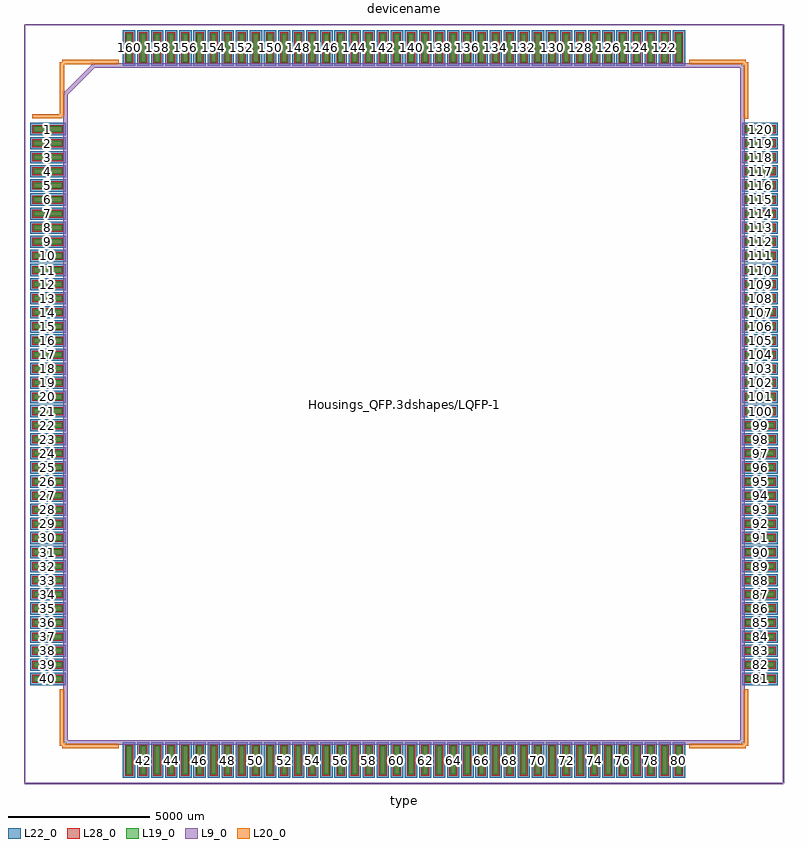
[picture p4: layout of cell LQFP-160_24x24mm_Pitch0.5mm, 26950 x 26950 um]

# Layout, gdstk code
import gdstk
lib = gdstk.Library(unit=1e-6, precision=1e-09)
def R(c, l, rs):  # rectangles x0, y0, x1, y1
    for r in rs: c.add(gdstk.rectangle(r[:2], r[2:], *l))
def A(c, l, x, y, w, h, nx, ny, dx, dy):  # array of equal rectangles
    R(c, l, [(x+i*dx, y+j*dy, x+i*dx+w, y+j*dy+h) for i in range(nx) for j in range(ny)])
L9_0 = (9, 0)
L19_0 = (19, 0)
L20_0 = (20, 0)
L22_0 = (22, 0)
L28_0 = (28, 0)

lqfp_160_24x24mm_pitch0_ = lib.new_cell('LQFP-160_24x24mm_Pitch0.5mm')
A(lqfp_160_24x24mm_pitch0_, L19_0, -9842.5, -13125, 185, 1000, 40, 2, 500, 25250)
A(lqfp_160_24x24mm_pitch0_, L19_0, -13125, -9842.5, 1000, 185, 1, 40, 0, 500)
A(lqfp_160_24x24mm_pitch0_, L19_0, 12125, -9842.5, 1000, 185, 1, 40, 0, 500)
A(lqfp_160_24x24mm_pitch0_, L22_0, -9967.5, -13250, 435, 1250, 40, 2, 500, 25250)
A(lqfp_160_24x24mm_pitch0_, L22_0, -13250, -9967.5, 1250, 435, 1, 40, 0, 500)
A(lqfp_160_24x24mm_pitch0_, L22_0, 12000, -9967.5, 1250, 435, 1, 40, 0, 500)
A(lqfp_160_24x24mm_pitch0_, L28_0, -9892.5, -13175, 285, 1100, 40, 2, 500, 25250)
A(lqfp_160_24x24mm_pitch0_, L28_0, -13175, -9892.5, 1100, 285, 1, 40, 0, 500)
A(lqfp_160_24x24mm_pitch0_, L28_0, 12075, -9892.5, 1100, 285, 1, 40, 0, 500)
lqfp_160_24x24mm_pitch0_.add(gdstk.FlexPath([(-12125,10200),(-13175,10200)], 149.998, ends="flush", simple_path=True, layer=20, datatype=0))  # L20_0
lqfp_160_24x24mm_pitch0_.add(gdstk.FlexPath([(12125,12125),(10117.5,12125)], 149.998, ends="flush", simple_path=True, layer=20, datatype=0))  # L20_0
lqfp_160_24x24mm_pitch0_.add(gdstk.FlexPath([(12125,-12125),(10117.5,-12125)], 149.998, ends="flush", simple_path=True, layer=20, datatype=0))  # L20_0
lqfp_160_24x24mm_pitch0_.add(gdstk.FlexPath([(-12125,-12125),(-10117.5,-12125)], 149.998, ends="flush", simple_path=True, layer=20, datatype=0))  # L20_0
lqfp_160_24x24mm_pitch0_.add(gdstk.FlexPath([(-12125,12125),(-10117.5,12125)], 149.998, ends="flush", simple_path=True, layer=20, datatype=0))  # L20_0
lqfp_160_24x24mm_pitch0_.add(gdstk.FlexPath([(-12125,-12125),(-12125,-10117.5)], 149.998, ends="flush", simple_path=True, layer=20, datatype=0))  # L20_0
lqfp_160_24x24mm_pitch0_.add(gdstk.FlexPath([(12125,-12125),(12125,-10117.5)], 149.998, ends="flush", simple_path=True, layer=20, datatype=0))  # L20_0
lqfp_160_24x24mm_pitch0_.add(gdstk.FlexPath([(12125,12125),(12125,10117.5)], 149.998, ends="flush", simple_path=True, layer=20, datatype=0))  # L20_0
lqfp_160_24x24mm_pitch0_.add(gdstk.FlexPath([(-12125,12125),(-12125,10200)], 149.998, ends="flush", simple_path=True, layer=20, datatype=0))  # L20_0
lqfp_160_24x24mm_pitch0_.add(gdstk.FlexPath([(-13450,-13450),(13450,-13450)], 50, ends="flush", simple_path=True, layer=9, datatype=0))  # L9_0
lqfp_160_24x24mm_pitch0_.add(gdstk.FlexPath([(-13450,13450),(13450,13450)], 50, ends="flush", simple_path=True, layer=9, datatype=0))  # L9_0
lqfp_160_24x24mm_pitch0_.add(gdstk.FlexPath([(13450,13450),(13450,-13450)], 50, ends="flush", simple_path=True, layer=9, datatype=0))  # L9_0
lqfp_160_24x24mm_pitch0_.add(gdstk.FlexPath([(-13450,13450),(-13450,-13450)], 50, ends="flush", simple_path=True, layer=9, datatype=0))  # L9_0
lqfp_160_24x24mm_pitch0_.add(gdstk.FlexPath([(-12000,11000),(-11000,12000)], 149.998, ends="flush", simple_path=True, layer=9, datatype=0))  # L9_0
lqfp_160_24x24mm_pitch0_.add(gdstk.FlexPath([(-12000,-12000),(-12000,11000)], 149.998, ends="flush", simple_path=True, layer=9, datatype=0))  # L9_0
lqfp_160_24x24mm_pitch0_.add(gdstk.FlexPath([(12000,-12000),(-12000,-12000)], 149.998, ends="flush", simple_path=True, layer=9, datatype=0))  # L9_0
lqfp_160_24x24mm_pitch0_.add(gdstk.FlexPath([(12000,12000),(12000,-12000)], 149.998, ends="flush", simple_path=True, layer=9, datatype=0))  # L9_0
lqfp_160_24x24mm_pitch0_.add(gdstk.FlexPath([(-11000,12000),(12000,12000)], 149.998, ends="flush", simple_path=True, layer=9, datatype=0))  # L9_0
lqfp_160_24x24mm_pitch0_.add(gdstk.Label('Housings_QFP.3dshapes/LQFP-160_24x24mm_Pitch0.5mm.wrl', (0,0), layer=12, texttype=0))
lqfp_160_24x24mm_pitch0_.add(gdstk.Label('160', (-9750,12625), layer=28, texttype=0))
lqfp_160_24x24mm_pitch0_.add(gdstk.Label('159', (-9250,12625), layer=28, texttype=0))
lqfp_160_24x24mm_pitch0_.add(gdstk.Label('158', (-8750,12625), layer=28, texttype=0))
lqfp_160_24x24mm_pitch0_.add(gdstk.Label('157', (-8250,12625), layer=28, texttype=0))
lqfp_160_24x24mm_pitch0_.add(gdstk.Label('156', (-7750,12625), layer=28, texttype=0))
lqfp_160_24x24mm_pitch0_.add(gdstk.Label('155', (-7250,12625), layer=28, texttype=0))
lqfp_160_24x24mm_pitch0_.add(gdstk.Label('154', (-6750,12625), layer=28, texttype=0))
lqfp_160_24x24mm_pitch0_.add(gdstk.Label('153', (-6250,12625), layer=28, texttype=0))
lqfp_160_24x24mm_pitch0_.add(gdstk.Label('152', (-5750,12625), layer=28, texttype=0))
lqfp_160_24x24mm_pitch0_.add(gdstk.Label('151', (-5250,12625), layer=28, texttype=0))
lqfp_160_24x24mm_pitch0_.add(gdstk.Label('150', (-4750,12625), layer=28, texttype=0))
lqfp_160_24x24mm_pitch0_.add(gdstk.Label('149', (-4250,12625), layer=28, texttype=0))
lqfp_160_24x24mm_pitch0_.add(gdstk.Label('148', (-3750,12625), layer=28, texttype=0))
lqfp_160_24x24mm_pitch0_.add(gdstk.Label('147', (-3250,12625), layer=28, texttype=0))
lqfp_160_24x24mm_pitch0_.add(gdstk.Label('146', (-2750,12625), layer=28, texttype=0))
lqfp_160_24x24mm_pitch0_.add(gdstk.Label('145', (-2250,12625), layer=28, texttype=0))
lqfp_160_24x24mm_pitch0_.add(gdstk.Label('144', (-1750,12625), layer=28, texttype=0))
lqfp_160_24x24mm_pitch0_.add(gdstk.Label('143', (-1250,12625), layer=28, texttype=0))
lqfp_160_24x24mm_pitch0_.add(gdstk.Label('142', (-750,12625), layer=28, texttype=0))
lqfp_160_24x24mm_pitch0_.add(gdstk.Label('141', (-250,12625), layer=28, texttype=0))
lqfp_160_24x24mm_pitch0_.add(gdstk.Label('140', (250,12625), layer=28, texttype=0))
lqfp_160_24x24mm_pitch0_.add(gdstk.Label('139', (750,12625), layer=28, texttype=0))
lqfp_160_24x24mm_pitch0_.add(gdstk.Label('138', (1250,12625), layer=28, texttype=0))
lqfp_160_24x24mm_pitch0_.add(gdstk.Label('137', (1750,12625), layer=28, texttype=0))
lqfp_160_24x24mm_pitch0_.add(gdstk.Label('136', (2250,12625), layer=28, texttype=0))
lqfp_160_24x24mm_pitch0_.add(gdstk.Label('135', (2750,12625), layer=28, texttype=0))
lqfp_160_24x24mm_pitch0_.add(gdstk.Label('134', (3250,12625), layer=28, texttype=0))
lqfp_160_24x24mm_pitch0_.add(gdstk.Label('133', (3750,12625), layer=28, texttype=0))
lqfp_160_24x24mm_pitch0_.add(gdstk.Label('132', (4250,12625), layer=28, texttype=0))
lqfp_160_24x24mm_pitch0_.add(gdstk.Label('131', (4750,12625), layer=28, texttype=0))
lqfp_160_24x24mm_pitch0_.add(gdstk.Label('130', (5250,12625), layer=28, texttype=0))
lqfp_160_24x24mm_pitch0_.add(gdstk.Label('129', (5750,12625), layer=28, texttype=0))
lqfp_160_24x24mm_pitch0_.add(gdstk.Label('128', (6250,12625), layer=28, texttype=0))
lqfp_160_24x24mm_pitch0_.add(gdstk.Label('127', (6750,12625), layer=28, texttype=0))
lqfp_160_24x24mm_pitch0_.add(gdstk.Label('126', (7250,12625), layer=28, texttype=0))
lqfp_160_24x24mm_pitch0_.add(gdstk.Label('125', (7750,12625), layer=28, texttype=0))
lqfp_160_24x24mm_pitch0_.add(gdstk.Label('124', (8250,12625), layer=28, texttype=0))
lqfp_160_24x24mm_pitch0_.add(gdstk.Label('123', (8750,12625), layer=28, texttype=0))
lqfp_160_24x24mm_pitch0_.add(gdstk.Label('122', (9250,12625), layer=28, texttype=0))
lqfp_160_24x24mm_pitch0_.add(gdstk.Label('121', (9750,12625), layer=28, texttype=0))
lqfp_160_24x24mm_pitch0_.add(gdstk.Label('120', (12625,9750), layer=28, texttype=0))
lqfp_160_24x24mm_pitch0_.add(gdstk.Label('119', (12625,9250), layer=28, texttype=0))
lqfp_160_24x24mm_pitch0_.add(gdstk.Label('118', (12625,8750), layer=28, texttype=0))
lqfp_160_24x24mm_pitch0_.add(gdstk.Label('117', (12625,8250), layer=28, texttype=0))
lqfp_160_24x24mm_pitch0_.add(gdstk.Label('116', (12625,7750), layer=28, texttype=0))
lqfp_160_24x24mm_pitch0_.add(gdstk.Label('115', (12625,7250), layer=28, texttype=0))
lqfp_160_24x24mm_pitch0_.add(gdstk.Label('114', (12625,6750), layer=28, texttype=0))
lqfp_160_24x24mm_pitch0_.add(gdstk.Label('113', (12625,6250), layer=28, texttype=0))
lqfp_160_24x24mm_pitch0_.add(gdstk.Label('112', (12625,5750), layer=28, texttype=0))
lqfp_160_24x24mm_pitch0_.add(gdstk.Label('111', (12625,5250), layer=28, texttype=0))
lqfp_160_24x24mm_pitch0_.add(gdstk.Label('110', (12625,4750), layer=28, texttype=0))
lqfp_160_24x24mm_pitch0_.add(gdstk.Label('109', (12625,4250), layer=28, texttype=0))
lqfp_160_24x24mm_pitch0_.add(gdstk.Label('108', (12625,3750), layer=28, texttype=0))
lqfp_160_24x24mm_pitch0_.add(gdstk.Label('107', (12625,3250), layer=28, texttype=0))
lqfp_160_24x24mm_pitch0_.add(gdstk.Label('106', (12625,2750), layer=28, texttype=0))
lqfp_160_24x24mm_pitch0_.add(gdstk.Label('105', (12625,2250), layer=28, texttype=0))
lqfp_160_24x24mm_pitch0_.add(gdstk.Label('104', (12625,1750), layer=28, texttype=0))
lqfp_160_24x24mm_pitch0_.add(gdstk.Label('103', (12625,1250), layer=28, texttype=0))
lqfp_160_24x24mm_pitch0_.add(gdstk.Label('102', (12625,750), layer=28, texttype=0))
lqfp_160_24x24mm_pitch0_.add(gdstk.Label('101', (12625,250), layer=28, texttype=0))
lqfp_160_24x24mm_pitch0_.add(gdstk.Label('100', (12625,-250), layer=28, texttype=0))
lqfp_160_24x24mm_pitch0_.add(gdstk.Label('99', (12625,-750), layer=28, texttype=0))
lqfp_160_24x24mm_pitch0_.add(gdstk.Label('98', (12625,-1250), layer=28, texttype=0))
lqfp_160_24x24mm_pitch0_.add(gdstk.Label('97', (12625,-1750), layer=28, texttype=0))
lqfp_160_24x24mm_pitch0_.add(gdstk.Label('96', (12625,-2250), layer=28, texttype=0))
lqfp_160_24x24mm_pitch0_.add(gdstk.Label('95', (12625,-2750), layer=28, texttype=0))
lqfp_160_24x24mm_pitch0_.add(gdstk.Label('94', (12625,-3250), layer=28, texttype=0))
lqfp_160_24x24mm_pitch0_.add(gdstk.Label('93', (12625,-3750), layer=28, texttype=0))
lqfp_160_24x24mm_pitch0_.add(gdstk.Label('92', (12625,-4250), layer=28, texttype=0))
lqfp_160_24x24mm_pitch0_.add(gdstk.Label('91', (12625,-4750), layer=28, texttype=0))
lqfp_160_24x24mm_pitch0_.add(gdstk.Label('90', (12625,-5250), layer=28, texttype=0))
lqfp_160_24x24mm_pitch0_.add(gdstk.Label('89', (12625,-5750), layer=28, texttype=0))
lqfp_160_24x24mm_pitch0_.add(gdstk.Label('88', (12625,-6250), layer=28, texttype=0))
lqfp_160_24x24mm_pitch0_.add(gdstk.Label('87', (12625,-6750), layer=28, texttype=0))
lqfp_160_24x24mm_pitch0_.add(gdstk.Label('86', (12625,-7250), layer=28, texttype=0))
lqfp_160_24x24mm_pitch0_.add(gdstk.Label('85', (12625,-7750), layer=28, texttype=0))
lqfp_160_24x24mm_pitch0_.add(gdstk.Label('84', (12625,-8250), layer=28, texttype=0))
lqfp_160_24x24mm_pitch0_.add(gdstk.Label('83', (12625,-8750), layer=28, texttype=0))
lqfp_160_24x24mm_pitch0_.add(gdstk.Label('82', (12625,-9250), layer=28, texttype=0))
lqfp_160_24x24mm_pitch0_.add(gdstk.Label('81', (12625,-9750), layer=28, texttype=0))
lqfp_160_24x24mm_pitch0_.add(gdstk.Label('80', (9750,-12625), layer=28, texttype=0))
lqfp_160_24x24mm_pitch0_.add(gdstk.Label('79', (9250,-12625), layer=28, texttype=0))
lqfp_160_24x24mm_pitch0_.add(gdstk.Label('78', (8750,-12625), layer=28, texttype=0))
lqfp_160_24x24mm_pitch0_.add(gdstk.Label('77', (8250,-12625), layer=28, texttype=0))
lqfp_160_24x24mm_pitch0_.add(gdstk.Label('76', (7750,-12625), layer=28, texttype=0))
lqfp_160_24x24mm_pitch0_.add(gdstk.Label('75', (7250,-12625), layer=28, texttype=0))
lqfp_160_24x24mm_pitch0_.add(gdstk.Label('74', (6750,-12625), layer=28, texttype=0))
lqfp_160_24x24mm_pitch0_.add(gdstk.Label('73', (6250,-12625), layer=28, texttype=0))
lqfp_160_24x24mm_pitch0_.add(gdstk.Label('72', (5750,-12625), layer=28, texttype=0))
lqfp_160_24x24mm_pitch0_.add(gdstk.Label('71', (5250,-12625), layer=28, texttype=0))
lqfp_160_24x24mm_pitch0_.add(gdstk.Label('70', (4750,-12625), layer=28, texttype=0))
lqfp_160_24x24mm_pitch0_.add(gdstk.Label('69', (4250,-12625), layer=28, texttype=0))
lqfp_160_24x24mm_pitch0_.add(gdstk.Label('68', (3750,-12625), layer=28, texttype=0))
lqfp_160_24x24mm_pitch0_.add(gdstk.Label('67', (3250,-12625), layer=28, texttype=0))
lqfp_160_24x24mm_pitch0_.add(gdstk.Label('66', (2750,-12625), layer=28, texttype=0))
lqfp_160_24x24mm_pitch0_.add(gdstk.Label('65', (2250,-12625), layer=28, texttype=0))
lqfp_160_24x24mm_pitch0_.add(gdstk.Label('64', (1750,-12625), layer=28, texttype=0))
lqfp_160_24x24mm_pitch0_.add(gdstk.Label('63', (1250,-12625), layer=28, texttype=0))
lqfp_160_24x24mm_pitch0_.add(gdstk.Label('62', (750,-12625), layer=28, texttype=0))
lqfp_160_24x24mm_pitch0_.add(gdstk.Label('61', (250,-12625), layer=28, texttype=0))
lqfp_160_24x24mm_pitch0_.add(gdstk.Label('60', (-250,-12625), layer=28, texttype=0))
lqfp_160_24x24mm_pitch0_.add(gdstk.Label('59', (-750,-12625), layer=28, texttype=0))
lqfp_160_24x24mm_pitch0_.add(gdstk.Label('58', (-1250,-12625), layer=28, texttype=0))
lqfp_160_24x24mm_pitch0_.add(gdstk.Label('57', (-1750,-12625), layer=28, texttype=0))
lqfp_160_24x24mm_pitch0_.add(gdstk.Label('56', (-2250,-12625), layer=28, texttype=0))
lqfp_160_24x24mm_pitch0_.add(gdstk.Label('55', (-2750,-12625), layer=28, texttype=0))
lqfp_160_24x24mm_pitch0_.add(gdstk.Label('54', (-3250,-12625), layer=28, texttype=0))
lqfp_160_24x24mm_pitch0_.add(gdstk.Label('53', (-3750,-12625), layer=28, texttype=0))
lqfp_160_24x24mm_pitch0_.add(gdstk.Label('52', (-4250,-12625), layer=28, texttype=0))
lqfp_160_24x24mm_pitch0_.add(gdstk.Label('51', (-4750,-12625), layer=28, texttype=0))
lqfp_160_24x24mm_pitch0_.add(gdstk.Label('50', (-5250,-12625), layer=28, texttype=0))
lqfp_160_24x24mm_pitch0_.add(gdstk.Label('49', (-5750,-12625), layer=28, texttype=0))
lqfp_160_24x24mm_pitch0_.add(gdstk.Label('48', (-6250,-12625), layer=28, texttype=0))
lqfp_160_24x24mm_pitch0_.add(gdstk.Label('47', (-6750,-12625), layer=28, texttype=0))
lqfp_160_24x24mm_pitch0_.add(gdstk.Label('46', (-7250,-12625), layer=28, texttype=0))
lqfp_160_24x24mm_pitch0_.add(gdstk.Label('45', (-7750,-12625), layer=28, texttype=0))
lqfp_160_24x24mm_pitch0_.add(gdstk.Label('44', (-8250,-12625), layer=28, texttype=0))
lqfp_160_24x24mm_pitch0_.add(gdstk.Label('43', (-8750,-12625), layer=28, texttype=0))
lqfp_160_24x24mm_pitch0_.add(gdstk.Label('42', (-9250,-12625), layer=28, texttype=0))
lqfp_160_24x24mm_pitch0_.add(gdstk.Label('41', (-9750,-12625), layer=28, texttype=0))
lqfp_160_24x24mm_pitch0_.add(gdstk.Label('40', (-12625,-9750), layer=28, texttype=0))
lqfp_160_24x24mm_pitch0_.add(gdstk.Label('39', (-12625,-9250), layer=28, texttype=0))
lqfp_160_24x24mm_pitch0_.add(gdstk.Label('38', (-12625,-8750), layer=28, texttype=0))
lqfp_160_24x24mm_pitch0_.add(gdstk.Label('37', (-12625,-8250), layer=28, texttype=0))
lqfp_160_24x24mm_pitch0_.add(gdstk.Label('36', (-12625,-7750), layer=28, texttype=0))
lqfp_160_24x24mm_pitch0_.add(gdstk.Label('35', (-12625,-7250), layer=28, texttype=0))
lqfp_160_24x24mm_pitch0_.add(gdstk.Label('34', (-12625,-6750), layer=28, texttype=0))
lqfp_160_24x24mm_pitch0_.add(gdstk.Label('33', (-12625,-6250), layer=28, texttype=0))
lqfp_160_24x24mm_pitch0_.add(gdstk.Label('32', (-12625,-5750), layer=28, texttype=0))
lqfp_160_24x24mm_pitch0_.add(gdstk.Label('31', (-12625,-5250), layer=28, texttype=0))
lqfp_160_24x24mm_pitch0_.add(gdstk.Label('30', (-12625,-4750), layer=28, texttype=0))
lqfp_160_24x24mm_pitch0_.add(gdstk.Label('29', (-12625,-4250), layer=28, texttype=0))
lqfp_160_24x24mm_pitch0_.add(gdstk.Label('28', (-12625,-3750), layer=28, texttype=0))
lqfp_160_24x24mm_pitch0_.add(gdstk.Label('27', (-12625,-3250), layer=28, texttype=0))
lqfp_160_24x24mm_pitch0_.add(gdstk.Label('26', (-12625,-2750), layer=28, texttype=0))
lqfp_160_24x24mm_pitch0_.add(gdstk.Label('25', (-12625,-2250), layer=28, texttype=0))
lqfp_160_24x24mm_pitch0_.add(gdstk.Label('24', (-12625,-1750), layer=28, texttype=0))
lqfp_160_24x24mm_pitch0_.add(gdstk.Label('23', (-12625,-1250), layer=28, texttype=0))
lqfp_160_24x24mm_pitch0_.add(gdstk.Label('22', (-12625,-750), layer=28, texttype=0))
lqfp_160_24x24mm_pitch0_.add(gdstk.Label('21', (-12625,-250), layer=28, texttype=0))
lqfp_160_24x24mm_pitch0_.add(gdstk.Label('20', (-12625,250), layer=28, texttype=0))
lqfp_160_24x24mm_pitch0_.add(gdstk.Label('19', (-12625,750), layer=28, texttype=0))
lqfp_160_24x24mm_pitch0_.add(gdstk.Label('18', (-12625,1250), layer=28, texttype=0))
lqfp_160_24x24mm_pitch0_.add(gdstk.Label('17', (-12625,1750), layer=28, texttype=0))
lqfp_160_24x24mm_pitch0_.add(gdstk.Label('16', (-12625,2250), layer=28, texttype=0))
lqfp_160_24x24mm_pitch0_.add(gdstk.Label('15', (-12625,2750), layer=28, texttype=0))
lqfp_160_24x24mm_pitch0_.add(gdstk.Label('14', (-12625,3250), layer=28, texttype=0))
lqfp_160_24x24mm_pitch0_.add(gdstk.Label('13', (-12625,3750), layer=28, texttype=0))
lqfp_160_24x24mm_pitch0_.add(gdstk.Label('12', (-12625,4250), layer=28, texttype=0))
lqfp_160_24x24mm_pitch0_.add(gdstk.Label('11', (-12625,4750), layer=28, texttype=0))
lqfp_160_24x24mm_pitch0_.add(gdstk.Label('10', (-12625,5250), layer=28, texttype=0))
lqfp_160_24x24mm_pitch0_.add(gdstk.Label('9', (-12625,5750), layer=28, texttype=0))
lqfp_160_24x24mm_pitch0_.add(gdstk.Label('8', (-12625,6250), layer=28, texttype=0))
lqfp_160_24x24mm_pitch0_.add(gdstk.Label('7', (-12625,6750), layer=28, texttype=0))
lqfp_160_24x24mm_pitch0_.add(gdstk.Label('6', (-12625,7250), layer=28, texttype=0))
lqfp_160_24x24mm_pitch0_.add(gdstk.Label('5', (-12625,7750), layer=28, texttype=0))
lqfp_160_24x24mm_pitch0_.add(gdstk.Label('4', (-12625,8250), layer=28, texttype=0))
lqfp_160_24x24mm_pitch0_.add(gdstk.Label('3', (-12625,8750), layer=28, texttype=0))
lqfp_160_24x24mm_pitch0_.add(gdstk.Label('2', (-12625,9250), layer=28, texttype=0))
lqfp_160_24x24mm_pitch0_.add(gdstk.Label('1', (-12625,9750), layer=28, texttype=0))
lqfp_160_24x24mm_pitch0_.add(gdstk.Label('%R', (0,0), layer=9, texttype=0))
lqfp_160_24x24mm_pitch0_.add(gdstk.Label('type', (0,-14175), layer=9, texttype=0))
lqfp_160_24x24mm_pitch0_.add(gdstk.Label('devicename', (0,14175), layer=9, texttype=0))

lib.write_gds('LQFP-160_24x24mm_Pitch0.5mm.gds')
